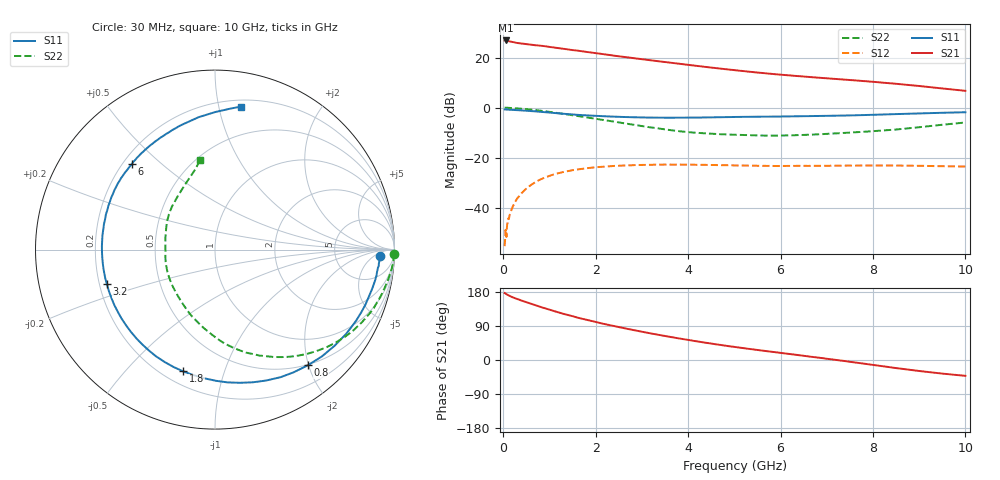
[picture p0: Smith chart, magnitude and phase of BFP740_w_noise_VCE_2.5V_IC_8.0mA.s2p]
! (c) 2013  Infineon Technologies AG, Munich
! Infineon Technologies  Discrete & RF Semiconductors
! BFP740
! VCE =  2.5 V,  IC =  8.0 mA
! Common Emitter S-Parameters:  Mar 2013
# GHz  S  MA  R  50
!  f  S11  S21  S12  S22
! GHz  MAG  ANG  MAG  ANG  MAG  ANG  MAG  ANG
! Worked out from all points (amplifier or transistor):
!   99 points, 30 MHz to 10 GHz, reference 50 ohm
!   highest |S21| = 26.9 dB at 50 MHz (marker M1)
!   |S21| within 3 dB of that: start of sweep to 1.17 GHz
!   unconditionally stable (mu >= 1): 7.374 GHz to end of sweep
!   at 350 MHz: K = 0.14, MSG = 30.5 dB, |S12| = -35.3 dB
!   at 3.5 GHz: K = 0.50, MSG = 20.5 dB, |S12| = -22.8 dB
!   at 10 GHz: K = 1.10, MAG = 13.2 dB, |S12| = -23.6 dB
!   lowest NFmin = 0.48 dB at 450 MHz
!   S11 on the Smith chart (normalised r, x): 30 MHz: 20, -9; 800 MHz: 0.49, -1.99; 1.8 GHz: 0.28, -0.73; 3.2 GHz: 0.23, -0.15; 6 GHz: 0.24, +0.40; 10 GHz: 0.25, +1.17
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0.03  0.9192 -2.1  21.94 176.8  0.0017 89.4  0.9964 -1.4
0.05  0.9201 -3.6  22.05 175.5  0.0036 85.1  0.9973 -2.5
0.07  0.9162 -4.9  21.8 173.8  0.0026 97.4  0.9958 -3.3
0.12  0.9111 -8.4  21.33 170.2  0.0059 84.8  0.991 -5.8
0.25  0.8964 -17.0  20.14 163.3  0.0126 78.6  0.9726 -11.6
0.45  0.8739 -29.7  18.9 154.6  0.0219 71.7  0.9431 -20.1
0.8  0.8263 -51.3  17.37 140.4  0.0365 60.2  0.8713 -34.0
0.9  0.8121 -57.3  16.92 136.5  0.0399 56.9  0.8475 -37.8
1.2  0.7688 -74.1  15.47 125.5  0.0491 47.6  0.7741 -48.7
1.7  0.709 -100.0  13.43 109.1  0.0597 35.3  0.66 -64.2
1.8  0.7011 -104.7  13.01 106.2  0.0615 33.2  0.6413 -67.1
2.1  0.6793 -119.0  11.97 97.4  0.0653 26.8  0.5786 -76.1
2.5  0.6557 -135.5  10.65 86.9  0.0689 19.8  0.5079 -86.8
2.8  0.6429 -147.4  9.825 79.4  0.0706 15.3  0.4573 -95.0
3.2  0.6324 -162.2  8.837 70.0  0.072 9.7  0.4018 -106.7
3.4  0.6306 -169.0  8.38 65.6  0.0725 7.2  0.3788 -112.7
4.1  0.6325 169.7  7.005 51.0  0.0723 -0.6  0.3185 -134.9
5.1  0.6523 147.6  5.498 32.9  0.0698 -8.0  0.2857 -162.6
6  0.6648 134.2  4.568 18.8  0.0683 -11.9  0.2769 176.4
6.7  0.6792 124.8  4.052 8.0  0.0688 -14.7  0.2898 161.4
8.5  0.7432 97.1  3 -21.3  0.0696 -23.6  0.3654 124.0
10  0.8098 79.7  2.17 -41.8  0.0664 -29.0  0.5048 99.4
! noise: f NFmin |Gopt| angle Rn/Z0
0.45  0.48  0.29  9  0.17
0.9  0.49  0.29  15  0.17
1.5  0.51  0.28  23  0.16
1.9  0.54  0.27  41  0.16
2.4  0.56  0.27  46  0.15
3.5  0.67  0.24  62  0.14
5.5  0.86  0.19  -178  0.13
10  1.39  0.52  -77  0.17
